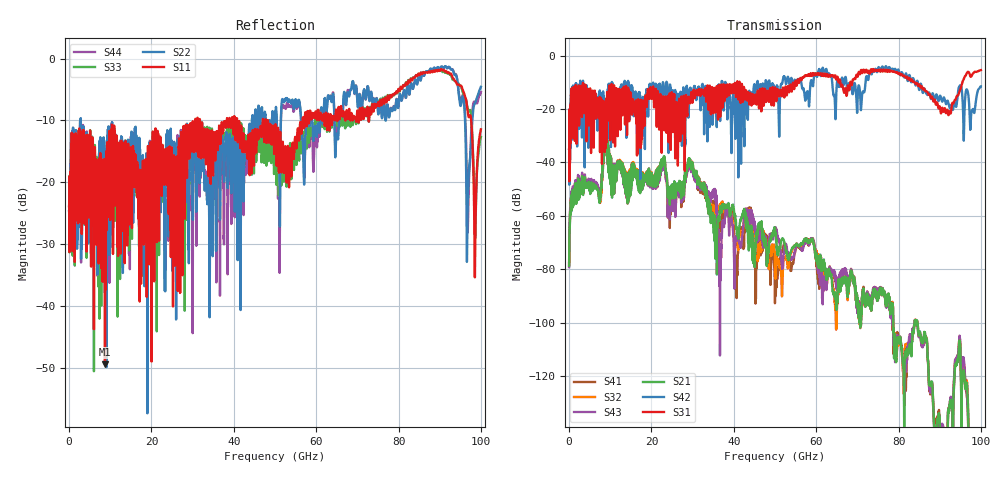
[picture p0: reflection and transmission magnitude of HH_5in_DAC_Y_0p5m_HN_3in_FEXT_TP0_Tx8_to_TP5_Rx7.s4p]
# GHz S RI R 45
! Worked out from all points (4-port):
!   4000 points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, 25 MHz to 100 GHz, reference 45 ohm
!   strongest paths, dB at 25 MHz, 25.02 GHz, 50.02 GHz, 75.03 GHz, 100 GHz:
!     S31: -34.9, -13.9, -11.9, -5.8, -5.4
!     S42: -34.9, -18.5, -12.5, -4.7, -11.5
!     S21: -78.7, -48.2, -64.8, -90.7, -175.4
!     S43: -79.2, -49.7, -65.0, -89.2, -175.1
!     S32: -77.9, -48.9, -78.3, -90.6, -180.5
!     S41: -78.5, -49.6, -91.2, -89.3, -176.3
!   lowest |S11| = -49.4 dB at 8.725 GHz (marker M1), VSWR 1.01, Z = 45 - j0.303 ohm
!   |S11| at or under -10 dB: start of sweep to 30.62 GHz; 31.79 GHz to 38.33 GHz (6.541 GHz wide, 18.7 % of centre); 48.27 GHz to 56.68 GHz (8.407 GHz wide, 16 % of centre)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
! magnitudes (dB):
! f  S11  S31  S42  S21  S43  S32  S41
! 25 MHz  -23.9  -34.9  -34.9  -78.7  -79.2  -77.9  -78.5
! 8.725 GHz  -49.4  -26.2  -21.5  -32.1  -32.2  -32.3  -32.2
! 29.48 GHz  -11.0  -17.2  -12.4  -41.5  -42.8  -41.3  -42.5
! 40.65 GHz  -9.7  -13.4  -15.3  -64.6  -68.8  -70.5  -85.9
! 43.73 GHz  -15.8  -16.7  -14.3  -67.0  -60.6  -59.6  -59.2
! 50.38 GHz  -16.1  -16.8  -12.1  -69.7  -66.1  -76.8  -86.8
! 100 GHz  -11.4  -5.4  -11.5  -175.4  -175.1  -180.5  -176.3
